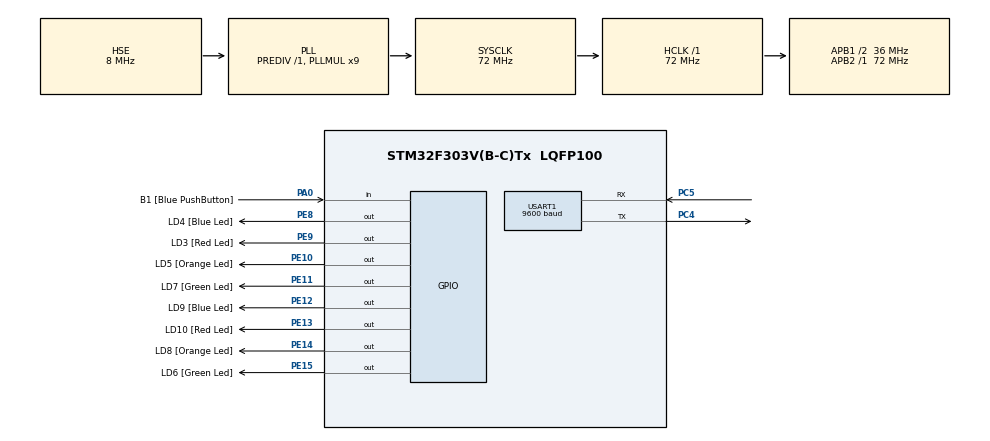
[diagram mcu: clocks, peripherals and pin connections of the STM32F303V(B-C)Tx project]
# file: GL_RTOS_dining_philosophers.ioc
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Dma.Request0=USART1_TX
Dma.USART1_TX.0.Direction=DMA_MEMORY_TO_PERIPH
Dma.USART1_TX.0.Instance=DMA1_Channel4
Dma.USART1_TX.0.MemDataAlignment=DMA_MDATAALIGN_BYTE
Dma.USART1_TX.0.MemInc=DMA_MINC_ENABLE
Dma.USART1_TX.0.Mode=DMA_NORMAL
Dma.USART1_TX.0.PeriphDataAlignment=DMA_PDATAALIGN_BYTE
Dma.USART1_TX.0.PeriphInc=DMA_PINC_DISABLE
Dma.USART1_TX.0.Priority=DMA_PRIORITY_LOW
FREERTOS.BinarySemaphores01=myBinarySem01,Dynamic,NULL;myBinarySem02,Dynamic,NULL;myBinarySem03,Dynamic,NULL;myBinarySem04,Dynamic,NULL;myBinarySem05,Dynamic,NULL
FREERTOS.Tasks01=myTask01,8,64,StartTask01,Default,NULL,Dynamic,NULL,NULL;myTask02,8,64,StartTask02,Default,NULL,Dynamic,NULL,NULL;myTask03,8,64,StartTask03,Default,NULL,Dynamic,NULL,NULL;myTask04,8,64,StartTask04,Default,NULL,Dynamic,NULL,NULL;myTask05,8,64,StartTask05,Default,NULL,Dynamic,NULL,NULL;myTask06,8,64,StartTask06,Default,NULL,Dynamic,NULL,NULL
FREERTOS.configMINIMAL_STACK_SIZE=64
Mcu.Family=STM32F3
Mcu.Name=STM32F303V(B-C)Tx
Mcu.Package=LQFP100
NVIC.DMA1_Channel4_IRQn=true\:5\:0\:false\:false\:true\:true\:false\:true
NVIC.PriorityGroup=NVIC_PRIORITYGROUP_4
NVIC.TIM7_IRQn=true\:0\:0\:false\:false\:true\:false\:false\:true
NVIC.TimeBase=TIM7_IRQn
NVIC.TimeBaseIP=TIM7
NVIC.USART1_IRQn=true\:5\:0\:false\:false\:true\:true\:true\:true
PA0.GPIO_Label=B1 [Blue PushButton]
PA0.Signal=GPIO_Input
PC4.Mode=Asynchronous
PC4.Signal=USART1_TX
PC5.Mode=Asynchronous
PC5.Signal=USART1_RX
PE10.GPIO_Label=LD5 [Orange Led]
PE10.Signal=GPIO_Output
PE11.GPIO_Label=LD7 [Green Led]
PE11.Signal=GPIO_Output
PE12.GPIO_Label=LD9 [Blue Led]
PE12.Signal=GPIO_Output
PE13.GPIO_Label=LD10 [Red Led]
PE13.Signal=GPIO_Output
PE14.GPIO_Label=LD8 [Orange Led]
PE14.Signal=GPIO_Output
PE15.GPIO_Label=LD6 [Green Led]
PE15.Signal=GPIO_Output
PE8.GPIO_Label=LD4 [Blue Led]
PE8.Signal=GPIO_Output
PE9.GPIO_Label=LD3 [Red Led]
PE9.Signal=GPIO_Output
PF0-OSC_IN.Mode=HSE-External-Oscillator
PF0-OSC_IN.Signal=RCC_OSC_IN
PF1-OSC_OUT.Mode=HSE-External-Oscillator
PF1-OSC_OUT.Signal=RCC_OSC_OUT
ProjectManager.HeapSize=0x200
ProjectManager.StackSize=0x400
ProjectManager.TargetToolchain=MDK-ARM V5.27
RCC.AHBFreq_Value=72000000
RCC.APB1CLKDivider=RCC_HCLK_DIV2
RCC.APB1Freq_Value=36000000
RCC.APB1TimFreq_Value=72000000
RCC.APB2Freq_Value=72000000
RCC.APB2TimFreq_Value=72000000
RCC.CortexFreq_Value=72000000
RCC.HCLKFreq_Value=72000000
RCC.HSE_VALUE=8000000
RCC.HSI_VALUE=8000000
RCC.LSE_VALUE=32768
RCC.PLLMUL=RCC_PLL_MUL9
RCC.PLLSourceVirtual=RCC_PLLSOURCE_HSE
RCC.SYSCLKFreq_VALUE=72000000
RCC.SYSCLKSourceVirtual=RCC_SYSCLKSOURCE_PLLCLK
RCC.USBFreq_Value=72000000
USART1.BaudRate=9600
USART1.VirtualMode-Asynchronous=VM_ASYNC
VP_FREERTOS_VS_CMSIS_V2.Mode=CMSIS_V2
VP_SYS_VS_tim7.Mode=TIM7
board=STM32F3DISCOVERY

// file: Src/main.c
/* USER CODE BEGIN Header */
/**
  ******************************************************************************
  * @file           : main.c
  * @brief          : Main program body
  ******************************************************************************
  * @attention
  *
  * <h2><center>&copy; Copyright (c) 2020 STMicroelectronics.
  * All rights reserved.</center></h2>
  *
  * This software component is licensed by ST under BSD 3-Clause license,
  * the "License"; You may not use this file except in compliance with the
  * License. You may obtain a copy of the License at:
  *                        opensource.org/licenses/BSD-3-Clause
  *
  ******************************************************************************
  */
/* USER CODE END Header */

#include "main.h"
#include "cmsis_os.h"

/* USER CODE BEGIN Includes */
#include "semphr.h"
/* USER CODE END Includes */

UART_HandleTypeDef huart1;
DMA_HandleTypeDef hdma_usart1_tx;

osThreadId_t myTask01Handle;
osThreadId_t myTask02Handle;
osThreadId_t myTask03Handle;
osThreadId_t myTask04Handle;
osThreadId_t myTask05Handle;
osSemaphoreId_t myBinarySem01Handle;
osSemaphoreId_t myBinarySem02Handle;
osSemaphoreId_t myBinarySem03Handle;
osSemaphoreId_t myBinarySem04Handle;
osSemaphoreId_t myBinarySem05Handle;

void SystemClock_Config(void);
static void MX_GPIO_Init(void);
static void MX_DMA_Init(void);
static void MX_USART1_UART_Init(void);
void StartTask01(void *argument);
void StartTask02(void *argument);
void StartTask03(void *argument);
void StartTask04(void *argument);
void StartTask05(void *argument);

int main(void)
{

  /* MCU Configuration--------------------------------------------------------*/

  /* Reset of all peripherals, Initializes the Flash interface and the Systick. */
  HAL_Init();

  /* Configure the system clock */
  SystemClock_Config();

  /* Initialize all configured peripherals */
  MX_GPIO_Init();
  MX_DMA_Init();
  MX_USART1_UART_Init();

  osKernelInitialize();

  /* Create the semaphores(s) */
  /* definition and creation of myBinarySem01 */
  const osSemaphoreAttr_t myBinarySem01_attributes = {
    .name = "myBinarySem01"
  };
  myBinarySem01Handle = osSemaphoreNew(1, 1, &myBinarySem01_attributes);

  /* definition and creation of myBinarySem02 */
  const osSemaphoreAttr_t myBinarySem02_attributes = {
    .name = "myBinarySem02"
  };
  myBinarySem02Handle = osSemaphoreNew(1, 1, &myBinarySem02_attributes);

  /* definition and creation of myBinarySem03 */
  const osSemaphoreAttr_t myBinarySem03_attributes = {
    .name = "myBinarySem03"
  };
  myBinarySem03Handle = osSemaphoreNew(1, 1, &myBinarySem03_attributes);

  /* definition and creation of myBinarySem04 */
  const osSemaphoreAttr_t myBinarySem04_attributes = {
    .name = "myBinarySem04"
  };
  myBinarySem04Handle = osSemaphoreNew(1, 1, &myBinarySem04_attributes);

  /* definition and creation of myBinarySem05 */
  const osSemaphoreAttr_t myBinarySem05_attributes = {
    .name = "myBinarySem05"
  };
  myBinarySem05Handle = osSemaphoreNew(1, 1, &myBinarySem05_attributes);

  /* Create the thread(s) */
  /* definition and creation of myTask01 */
  const osThreadAttr_t myTask01_attributes = {
    .name = "myTask01",
    .priority = (osPriority_t) osPriorityLow,
    .stack_size = 64
  };
  myTask01Handle = osThreadNew(StartTask01, NULL, &myTask01_attributes);

  /* definition and creation of myTask02 */
  const osThreadAttr_t myTask02_attributes = {
    .name = "myTask02",
    .priority = (osPriority_t) osPriorityLow,
    .stack_size = 64
  };
  myTask02Handle = osThreadNew(StartTask02, NULL, &myTask02_attributes);

  /* definition and creation of myTask03 */
  const osThreadAttr_t myTask03_attributes = {
    .name = "myTask03",
    .priority = (osPriority_t) osPriorityLow,
    .stack_size = 64
  };
  myTask03Handle = osThreadNew(StartTask03, NULL, &myTask03_attributes);

  /* definition and creation of myTask04 */
  const osThreadAttr_t myTask04_attributes = {
    .name = "myTask04",
    .priority = (osPriority_t) osPriorityLow,
    .stack_size = 64
  };
  myTask04Handle = osThreadNew(StartTask04, NULL, &myTask04_attributes);

  /* definition and creation of myTask05 */
  const osThreadAttr_t myTask05_attributes = {
    .name = "myTask05",
    .priority = (osPriority_t) osPriorityLow,
    .stack_size = 64
  };
  myTask05Handle = osThreadNew(StartTask05, NULL, &myTask05_attributes);

  /* USER CODE BEGIN RTOS_THREADS */
  /* add threads, ... */
	uint8_t buffTx[] = "Tasks were created!\r\n";
	HAL_UART_Transmit_DMA(&huart1, buffTx, sizeof(buffTx));
	osDelay(100);
  /* USER CODE END RTOS_THREADS */

  /* Start scheduler */
  osKernelStart();

  /* We should never get here as control is now taken by the scheduler */

  /* Infinite loop */
  while (1)
  {

  }
}

void SystemClock_Config(void)
{
  RCC_OscInitTypeDef RCC_OscInitStruct = {0};
  RCC_ClkInitTypeDef RCC_ClkInitStruct = {0};
  RCC_PeriphCLKInitTypeDef PeriphClkInit = {0};

  /** Initializes the CPU, AHB and APB busses clocks
  */
  RCC_OscInitStruct.OscillatorType = RCC_OSCILLATORTYPE_HSE;
  RCC_OscInitStruct.HSEState = RCC_HSE_ON;
  RCC_OscInitStruct.HSEPredivValue = RCC_HSE_PREDIV_DIV1;
  RCC_OscInitStruct.HSIState = RCC_HSI_ON;
  RCC_OscInitStruct.PLL.PLLState = RCC_PLL_ON;
  RCC_OscInitStruct.PLL.PLLSource = RCC_PLLSOURCE_HSE;
  RCC_OscInitStruct.PLL.PLLMUL = RCC_PLL_MUL9;
  if (HAL_RCC_OscConfig(&RCC_OscInitStruct) != HAL_OK)
  {
    Error_Handler();
  }
  /** Initializes the CPU, AHB and APB busses clocks
  */
  RCC_ClkInitStruct.ClockType = RCC_CLOCKTYPE_HCLK|RCC_CLOCKTYPE_SYSCLK
                              |RCC_CLOCKTYPE_PCLK1|RCC_CLOCKTYPE_PCLK2;
  RCC_ClkInitStruct.SYSCLKSource = RCC_SYSCLKSOURCE_PLLCLK;
  RCC_ClkInitStruct.AHBCLKDivider = RCC_SYSCLK_DIV1;
  RCC_ClkInitStruct.APB1CLKDivider = RCC_HCLK_DIV2;
  RCC_ClkInitStruct.APB2CLKDivider = RCC_HCLK_DIV1;

  if (HAL_RCC_ClockConfig(&RCC_ClkInitStruct, FLASH_LATENCY_2) != HAL_OK)
  {
    Error_Handler();
  }
  PeriphClkInit.PeriphClockSelection = RCC_PERIPHCLK_USART1;
  PeriphClkInit.Usart1ClockSelection = RCC_USART1CLKSOURCE_PCLK2;
  if (HAL_RCCEx_PeriphCLKConfig(&PeriphClkInit) != HAL_OK)
  {
    Error_Handler();
  }
}

static void MX_USART1_UART_Init(void)
{

  huart1.Instance = USART1;
  huart1.Init.BaudRate = 9600;
  huart1.Init.WordLength = UART_WORDLENGTH_8B;
  huart1.Init.StopBits = UART_STOPBITS_1;
  huart1.Init.Parity = UART_PARITY_NONE;
  huart1.Init.Mode = UART_MODE_TX_RX;
  huart1.Init.HwFlowCtl = UART_HWCONTROL_NONE;
  huart1.Init.OverSampling = UART_OVERSAMPLING_16;
  huart1.Init.OneBitSampling = UART_ONE_BIT_SAMPLE_DISABLE;
  huart1.AdvancedInit.AdvFeatureInit = UART_ADVFEATURE_NO_INIT;
  if (HAL_UART_Init(&huart1) != HAL_OK)
  {
    Error_Handler();
  }

}

static void MX_DMA_Init(void)
{

  /* DMA controller clock enable */
  __HAL_RCC_DMA1_CLK_ENABLE();

  /* DMA interrupt init */
  /* DMA1_Channel4_IRQn interrupt configuration */
  HAL_NVIC_SetPriority(DMA1_Channel4_IRQn, 5, 0);
  HAL_NVIC_EnableIRQ(DMA1_Channel4_IRQn);

}

static void MX_GPIO_Init(void)
{
  GPIO_InitTypeDef GPIO_InitStruct = {0};

  /* GPIO Ports Clock Enable */
  __HAL_RCC_GPIOF_CLK_ENABLE();
  __HAL_RCC_GPIOA_CLK_ENABLE();
  __HAL_RCC_GPIOC_CLK_ENABLE();
  __HAL_RCC_GPIOE_CLK_ENABLE();

  /*Configure GPIO pin Output Level */
  HAL_GPIO_WritePin(GPIOE, LD4_Pin|LD3_Pin|LD5_Pin|LD7_Pin
                          |LD9_Pin|LD10_Pin|LD8_Pin|LD6_Pin, GPIO_PIN_RESET);

  /*Configure GPIO pin : B1_Pin */
  GPIO_InitStruct.Pin = B1_Pin;
  GPIO_InitStruct.Mode = GPIO_MODE_INPUT;
  GPIO_InitStruct.Pull = GPIO_NOPULL;
  HAL_GPIO_Init(B1_GPIO_Port, &GPIO_InitStruct);

  /*Configure GPIO pins : LD4_Pin LD3_Pin LD5_Pin LD7_Pin
                           LD9_Pin LD10_Pin LD8_Pin LD6_Pin */
  GPIO_InitStruct.Pin = LD4_Pin|LD3_Pin|LD5_Pin|LD7_Pin
                          |LD9_Pin|LD10_Pin|LD8_Pin|LD6_Pin;
  GPIO_InitStruct.Mode = GPIO_MODE_OUTPUT_PP;
  GPIO_InitStruct.Pull = GPIO_NOPULL;
  GPIO_InitStruct.Speed = GPIO_SPEED_FREQ_LOW;
  HAL_GPIO_Init(GPIOE, &GPIO_InitStruct);

}

void StartTask01(void *argument)
{
  /* USER CODE BEGIN 5 */

  /* Infinite loop */
  for(;;)
  {
	if( xSemaphoreTake( myBinarySem01Handle, 10 ) == pdTRUE)
	{
		if( xSemaphoreTake( myBinarySem02Handle, 10 ) == pdTRUE)
		{
			uint8_t buffTx[] = "Philosopher_1 is eating!\r\n";
			HAL_GPIO_TogglePin(GPIOE, GPIO_PIN_8);
			HAL_UART_Transmit_DMA(&huart1, buffTx, sizeof(buffTx));
			//HAL_UART_Transmit(&huart1, buffTx, sizeof(buffTx), 25);
			xSemaphoreGive( myBinarySem02Handle );
		}
		xSemaphoreGive( myBinarySem01Handle );
	}
	else
	{
		xSemaphoreGive( myBinarySem02Handle );
	}
    osDelay(1000);
  }
  /* USER CODE END 5 */
}

void StartTask02(void *argument)
{
  /* USER CODE BEGIN StartTask02 */
  /* Infinite loop */
  for(;;)
  {
	if( xSemaphoreTake( myBinarySem02Handle, 10 ) == pdTRUE)
	{
		if( xSemaphoreTake( myBinarySem03Handle, 10 ) == pdTRUE)
		{
			uint8_t buffTx[] = "Philosopher_2 is eating!\r\n";
			HAL_GPIO_TogglePin(GPIOE, GPIO_PIN_9);
			HAL_UART_Transmit_DMA(&huart1, buffTx, sizeof(buffTx));
			//HAL_UART_Transmit(&huart1, buffTx, sizeof(buffTx), 25);
			xSemaphoreGive( myBinarySem03Handle );
		}
		xSemaphoreGive( myBinarySem02Handle );
	}
	else
	{
		xSemaphoreGive( myBinarySem03Handle );
	}
    osDelay(500);
  }
  /* USER CODE END StartTask02 */
}

void StartTask03(void *argument)
{
  /* USER CODE BEGIN StartTask03 */
  /* Infinite loop */
  for(;;)
  {
	if( xSemaphoreTake( myBinarySem03Handle, 10 ) == pdTRUE)
	{
		if( xSemaphoreTake( myBinarySem04Handle, 10 ) == pdTRUE)
		{
			uint8_t buffTx[] = "Philosopher_3 is eating!\r\n";
			HAL_GPIO_TogglePin(GPIOE, GPIO_PIN_10);
			HAL_UART_Transmit_DMA(&huart1, buffTx, sizeof(buffTx));
			//HAL_UART_Transmit(&huart1, buffTx, sizeof(buffTx), 25);
			xSemaphoreGive( myBinarySem04Handle );
		}
		xSemaphoreGive( myBinarySem03Handle );
	}
	else
	{
		xSemaphoreGive( myBinarySem04Handle );
	}
    osDelay(900);
  }
  /* USER CODE END StartTask03 */
}

void StartTask04(void *argument)
{
  /* USER CODE BEGIN StartTask04 */
  /* Infinite loop */
  for(;;)
  {
//	if( xSemaphoreTake( myBinarySem04Handle, 10 ) == pdTRUE)
//	{
//		if( xSemaphoreTake( myBinarySem05Handle, 10 ) == pdTRUE)
//		{
//			uint8_t buffTx[] = "Philosopher_4 is eating!\r\n";
//			HAL_GPIO_TogglePin(GPIOE, GPIO_PIN_11);
//			HAL_UART_Transmit_DMA(&huart1, buffTx, sizeof(buffTx));
//			xSemaphoreGive( myBinarySem05Handle );
//		}
//		xSemaphoreGive( myBinarySem04Handle );
//	}
//	else
//	{
//		xSemaphoreGive( myBinarySem05Handle );
//	}
    osDelay(1000);
  }
  /* USER CODE END StartTask04 */
}

void StartTask05(void *argument)
{
  /* USER CODE BEGIN StartTask05 */
  /* Infinite loop */
  for(;;)
  {
//	if( xSemaphoreTake( myBinarySem05Handle, 10 ) == pdTRUE)
//	{
//		if( xSemaphoreTake( myBinarySem01Handle, 10 ) == pdTRUE)
//		{
//			uint8_t buffTx[] = "Philosopher_5 is eating!\r\n";
//			HAL_GPIO_TogglePin(GPIOE, GPIO_PIN_12);
//			HAL_UART_Transmit_DMA(&huart1, buffTx, sizeof(buffTx));
//			xSemaphoreGive( myBinarySem01Handle );
//		}
//		xSemaphoreGive( myBinarySem05Handle );
//	}
//	else
//	{
//		xSemaphoreGive( myBinarySem01Handle );
//	}
    osDelay(100);
  }
  /* USER CODE END StartTask05 */
}

void HAL_TIM_PeriodElapsedCallback(TIM_HandleTypeDef *htim)
{
  if (htim->Instance == TIM7) {
    HAL_IncTick();
  }
}

void Error_Handler(void)
{
}

/************************ (C) COPYRIGHT STMicroelectronics *****END OF FILE****/
